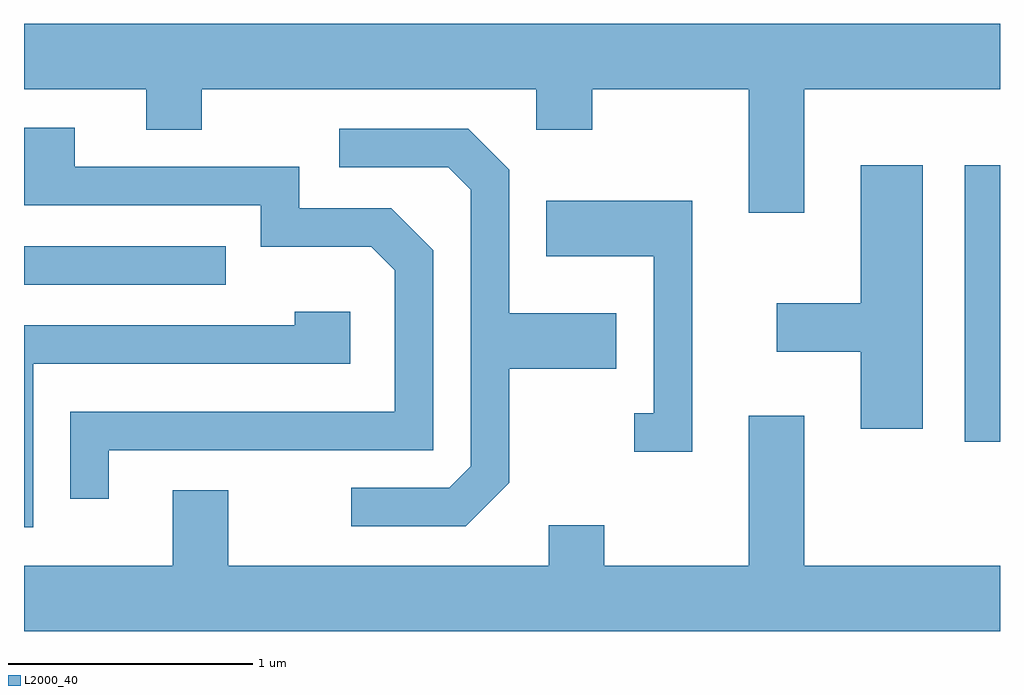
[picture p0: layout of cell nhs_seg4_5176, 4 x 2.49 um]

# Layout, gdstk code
import gdstk
lib = gdstk.Library(unit=1e-6, precision=1e-09)
def R(c, l, rs):  # rectangles x0, y0, x1, y1
    for r in rs: c.add(gdstk.rectangle(r[:2], r[2:], *l))
def P(c, l, *ps):  # polygons
    for p in ps: c.add(gdstk.Polygon(p, *l))
L2000_40 = (2000, 40)

nhs_seg4_5176 = lib.new_cell('nhs_seg4_5176')
R(nhs_seg4_5176, L2000_40, [(341.466,1271.091,341.611,1272.224), (337.611,1271.736,338.438,1271.894)])
P(nhs_seg4_5176, L2000_40, [(340.809,1272.536),(341.611,1272.536),(341.611,1272.804),(337.611,1272.804),(337.611,1272.536),(338.111,1272.536),(338.111,1272.371),(338.339,1272.371),(338.339,1272.536),(339.711,1272.536),(339.711,1272.371),(339.939,1272.371),(339.939,1272.536),(340.581,1272.536),(340.581,1272.031),(340.809,1272.031)],
  [(337.959,1271.056),(339.289,1271.056),(339.289,1271.877),(339.117,1272.049),(338.739,1272.049),(338.739,1272.219),(337.819,1272.219),(337.819,1272.379),(337.611,1272.379),(337.611,1272.061),(338.581,1272.061),(338.581,1271.891),(339.034,1271.891),(339.131,1271.794),(339.131,1271.214),(337.801,1271.214),(337.801,1270.858),(337.959,1270.858)],
  [(339.599,1270.924),(339.599,1271.391),(340.039,1271.391),(340.039,1271.619),(339.599,1271.619),(339.599,1272.207),(339.432,1272.374),(338.903,1272.374),(338.903,1272.216),(339.349,1272.216),(339.441,1272.124),(339.441,1270.992),(339.354,1270.904),(338.953,1270.904),(338.953,1270.746),(339.422,1270.746)],
  [(341.294,1272.224),(341.041,1272.224),(341.041,1271.659),(340.696,1271.659),(340.696,1271.461),(341.041,1271.461),(341.041,1271.146),(341.294,1271.146)],
  [(340.349,1272.079),(339.751,1272.079),(339.751,1271.851),(340.191,1271.851),(340.191,1271.209),(340.113,1271.209),(340.113,1271.051),(340.349,1271.051)],
  [(337.649,1271.411),(338.949,1271.411),(338.949,1271.624),(338.721,1271.624),(338.721,1271.569),(337.611,1271.569),(337.611,1270.741),(337.649,1270.741)],
  [(341.611,1270.584),(340.809,1270.584),(340.809,1271.199),(340.581,1271.199),(340.581,1270.584),(339.989,1270.584),(339.989,1270.749),(339.761,1270.749),(339.761,1270.584),(338.449,1270.584),(338.449,1270.894),(338.221,1270.894),(338.221,1270.584),(337.611,1270.584),(337.611,1270.316),(341.611,1270.316)])

lib.write_gds('nhs_seg4_5176.gds')
